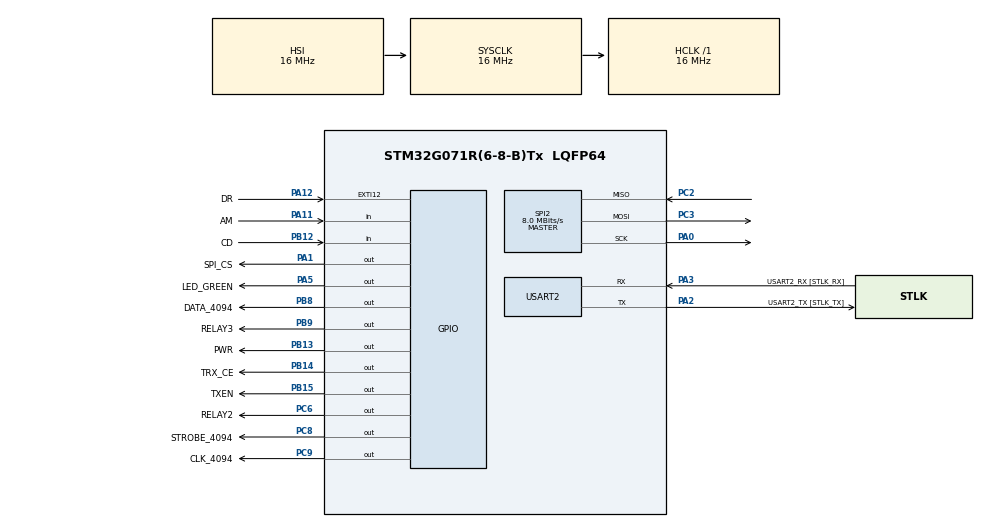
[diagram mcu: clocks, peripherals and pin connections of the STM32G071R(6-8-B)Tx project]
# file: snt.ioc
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Mcu.Family=STM32G0
Mcu.Name=STM32G071R(6-8-B)Tx
Mcu.Package=LQFP64
NVIC.EXTI4_15_IRQn=true\:0\:0\:false\:false\:true\:true\:true\:true
NVIC.SPI2_IRQn=true\:0\:0\:false\:false\:true\:true\:true\:true
NVIC.TIM2_IRQn=true\:0\:0\:false\:false\:true\:true\:true\:true
PA0.GPIO_PuPd=GPIO_NOPULL
PA0.Mode=Full_Duplex_Master
PA0.Signal=SPI2_SCK
PA1.GPIO_Label=SPI_CS
PA1.GPIO_PuPd=GPIO_NOPULL
PA1.Signal=GPIO_Output
PA11\ [PA9].GPIO_Label=AM
PA11\ [PA9].Signal=GPIO_Input
PA12\ [PA10].GPIO_Label=DR
PA12\ [PA10].GPIO_ModeDefaultEXTI=GPIO_MODE_IT_RISING_FALLING
PA12\ [PA10].Signal=GPXTI12
PA13.GPIO_Label=TMS
PA13.Mode=Serial_Wire
PA13.Signal=SYS_SWDIO
PA14-BOOT0.GPIO_Label=TCK
PA14-BOOT0.Mode=Serial_Wire
PA14-BOOT0.Signal=SYS_SWCLK
PA2.GPIO_Label=USART2_TX [STLK_TX]
PA2.GPIO_PuPd=GPIO_PULLUP
PA2.Mode=Asynchronous
PA2.Signal=USART2_TX
PA3.GPIO_Label=USART2_RX [STLK_RX]
PA3.GPIO_PuPd=GPIO_PULLUP
PA3.Mode=Asynchronous
PA3.Signal=USART2_RX
PA5.GPIO_Label=LED_GREEN
PA5.GPIO_Speed=GPIO_SPEED_FREQ_HIGH
PA5.Signal=GPIO_Output
PB12.GPIO_Label=CD
PB12.Signal=GPIO_Input
PB13.GPIO_Label=PWR
PB13.GPIO_PuPd=GPIO_NOPULL
PB13.Signal=GPIO_Output
PB14.GPIO_Label=TRX_CE
PB14.GPIO_PuPd=GPIO_NOPULL
PB14.Signal=GPIO_Output
PB15.GPIO_Label=TXEN
PB15.GPIO_PuPd=GPIO_NOPULL
PB15.Signal=GPIO_Output
PB8.GPIO_Label=DATA_4094
PB8.Signal=GPIO_Output
PB9.GPIO_Label=RELAY3
PB9.Signal=GPIO_Output
PC13.Mode=SYS_WakeUp1
PC13.Signal=SYS_WKUP2
PC14-OSC32_IN\ (PC14).Mode=LSE-External-Oscillator
PC14-OSC32_IN\ (PC14).Signal=RCC_OSC32_IN
PC15-OSC32_OUT\ (PC15).Mode=LSE-External-Oscillator
PC15-OSC32_OUT\ (PC15).Signal=RCC_OSC32_OUT
PC2.GPIO_PuPd=GPIO_NOPULL
PC2.Mode=Full_Duplex_Master
PC2.Signal=SPI2_MISO
PC3.GPIO_PuPd=GPIO_NOPULL
PC3.Mode=Full_Duplex_Master
PC3.Signal=SPI2_MOSI
PC6.GPIO_Label=RELAY2
PC6.Signal=GPIO_Output
PC8.GPIO_Label=STROBE_4094
PC8.Signal=GPIO_Output
PC9.GPIO_Label=CLK_4094
PC9.Signal=GPIO_Output
PF0-OSC_IN\ (PF0).GPIO_Label=MCO
PF0-OSC_IN\ (PF0).Mode=HSE-External-Clock-Source
PF0-OSC_IN\ (PF0).Signal=RCC_OSC_IN
ProjectManager.HeapSize=0x200
ProjectManager.StackSize=0x400
ProjectManager.TargetToolchain=STM32CubeIDE
RCC.AHBFreq_Value=16000000
RCC.CortexFreq_Value=16000000
RCC.EXTERNAL_CLOCK_VALUE=12288000
RCC.HCLKFreq_Value=16000000
RCC.HSE_VALUE=8000000
RCC.HSI_VALUE=16000000
RCC.SYSCLKFreq_VALUE=16000000
RCC.VCOOutputFreq_Value=128000000
SPI2.BaudRatePrescaler=SPI_BAUDRATEPRESCALER_2
SPI2.CalculateBaudRate=8.0 MBits/s
SPI2.DataSize=SPI_DATASIZE_8BIT
SPI2.Direction=SPI_DIRECTION_2LINES
SPI2.Mode=SPI_MODE_MASTER
SPI2.VirtualType=VM_MASTER
TIM2.Period=3600
TIM2.Prescaler=100
TIM3.Prescaler=79
USART2.VirtualMode-Asynchronous=VM_ASYNC
VP_SYS_VS_DBSignals.Mode=DisableDeadBatterySignals
VP_TIM2_VS_ClockSourceINT.Mode=Internal
VP_TIM3_VS_ClockSourceINT.Mode=Internal
board=NUCLEO-G071RB

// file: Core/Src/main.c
/* USER CODE BEGIN Header */
/**
  **************************
  * @file           : main.c
  * @brief          : Main program body
  **************************
  * @attention
  *
  * Copyright (c) 2022 STMicroelectronics.
  * All rights reserved.
  *
  * This software is licensed under terms that can be found in the LICENSE file
  * in the root directory of this software component.
  * If no LICENSE file comes with this software, it is provided AS-IS.
  *
  **************************
  */
/* USER CODE END Header */
#include "main.h"
#include "spi.h"
#include "tim.h"
#include "usart.h"
#include "gpio.h"

/* USER CODE BEGIN Includes */
#include <stdio.h>
#include <stdlib.h>
#include "cd4094.h"

#include "NRF905.h"
/* USER CODE END Includes */

void SystemClock_Config(void);
/* USER CODE BEGIN PFP */
//int _write(int file, char *ptr, int len) {
//	HAL_UART_Transmit(&huart2, (uint8_t*) ptr, len, 50);
//	for (int i = 0; i < len; i++) {
//		ITM_SendChar(*ptr++);
//	}
//	return len;
//}
/* USER CODE END PFP */

/* USER CODE BEGIN 0 */
extern void initialise_monitor_handles(void);
NRF905_hw_t NRF905_hw;
NRF905_t NRF905;

int master;
int ret;

char buffer[64];
uint8_t nrf905_payload_buffer[NRF905_MAX_PAYLOAD + 1];

int message;
int message_length;

//volatile bool rx_flag = false;
//volatile int state = 0;
volatile bool response = false;
int c = 0;
int counter = 0;
int shift_num = 0x00000000;
int temp_num = 0x00000000;
int led = 0;

uint32_t my_address;
uint32_t receiver_address;

#define ADDRESS_MASTER 0xA2B5D154
#define ADDRESS_SLAVE  0xA2B5D154

/* USER CODE END 0 */

int main(void)
{
  /* USER CODE BEGIN 1 */
	initialise_monitor_handles();
  /* USER CODE END 1 */

  /* MCU Configuration--------------------------------------------------------*/

  /* Reset of all peripherals, Initializes the Flash interface and the Systick. */
  HAL_Init();

  /* USER CODE BEGIN Init */
  portInit_shiftreg();

  /* USER CODE END Init */

  /* Configure the system clock */
  SystemClock_Config();

  /* Initialize all configured peripherals */
  MX_GPIO_Init();
  MX_USART2_UART_Init();
  MX_SPI2_Init();
  MX_TIM3_Init();
  MX_TIM2_Init();
  /* USER CODE BEGIN 2 */
  HAL_TIM_Base_Start_IT(&htim2);

  uint32_t uid = 0x00;
  	for (uint8_t i = 0; i < 3; ++i) {
  		uid += (uint32_t) (UID_BASE + i * 4);
  	}
  	srand(uid);

  	NRF905_hw.gpio[NRF905_HW_GPIO_TXEN].pin = TXEN_Pin;
  	NRF905_hw.gpio[NRF905_HW_GPIO_TXEN].port = TXEN_GPIO_Port;
  	NRF905_hw.gpio[NRF905_HW_GPIO_TRX_EN].pin = TRX_CE_Pin;
  	NRF905_hw.gpio[NRF905_HW_GPIO_TRX_EN].port = TRX_CE_GPIO_Port;
  	NRF905_hw.gpio[NRF905_HW_GPIO_PWR].pin = PWR_Pin;
  	NRF905_hw.gpio[NRF905_HW_GPIO_PWR].port = PWR_GPIO_Port;

  	NRF905_hw.gpio[NRF905_HW_GPIO_CD].pin = CD_Pin;
  	NRF905_hw.gpio[NRF905_HW_GPIO_CD].port = CD_GPIO_Port;
  	NRF905_hw.gpio[NRF905_HW_GPIO_AM].pin = AM_Pin;
  	NRF905_hw.gpio[NRF905_HW_GPIO_AM].port = AM_GPIO_Port;
  	NRF905_hw.gpio[NRF905_HW_GPIO_DR].pin = DR_Pin;
  	NRF905_hw.gpio[NRF905_HW_GPIO_DR].port = DR_GPIO_Port;

  	NRF905_hw.gpio[NRF905_HW_GPIO_CS].pin = SPI_CS_Pin;
  	NRF905_hw.gpio[NRF905_HW_GPIO_CS].port = SPI_CS_GPIO_Port;

  	NRF905_hw.tim = &htim3;
  	NRF905_hw.spi = &hspi2;

  	master = 0; //HAL_GPIO_ReadPin(MODE_GPIO_Port, MODE_Pin);
  	if (master == 1) {
  		my_address = ADDRESS_MASTER;
  		receiver_address = ADDRESS_SLAVE;
  	} else {
  		my_address = ADDRESS_SLAVE;
  		receiver_address = ADDRESS_MASTER;
  	}

  	if (master == 1) {
  		printf("Mode: Master, TX, %08lX\r\n", my_address);
//  		HAL_GPIO_WritePin(LED_GREEN_GPIO_Port, LED_GREEN_Pin, GPIO_PIN_RESET);
  	} else {
  		printf("Mode: Slave, RX, %08lX\r\n", my_address);
//  		HAL_GPIO_WritePin(LED_GREEN_GPIO_Port, LED_GREEN_Pin, GPIO_PIN_SET);
  	}

  	NRF905_init(&NRF905, &NRF905_hw);
  	NRF905_set_listen_address(&NRF905, receiver_address);

  	printf("Reg conf: ");
  	for (int i = 0; i < 10; ++i) {
  		uint8_t d = NRF905_read_config_register(&NRF905, i);
  		printf("%02X, ", d);
  	}
  	printf("\r\n");
  /* USER CODE END 2 */

  /* Infinite loop */
  /* USER CODE BEGIN WHILE */
	while (1) {

//		if(!HAL_GPIO_ReadPin(BUTTON_GPIO_Port, BUTTON_Pin)){
//
//		uint8_t len = sprintf(nrf905_payload_buffer, "Hello SNT, from %08lX!", c,
//				my_address);
//		printf("Sending (%d): %s\r\n", len, nrf905_payload_buffer);
//		int ret = NRF905_tx(&NRF905, my_address, nrf905_payload_buffer, 32,
//				NRF905_NEXTMODE_STANDBY);
//		printf("ret = %d\r\n", ret);
//		++c;
//		}

//		printf("Switching to RX (%08lX)\r\n", my_address);
		NRF905_rx(&NRF905);
//		uint32_t wait = rand() % 21 + 20;
//		printf("Waiting for max %ld ms\r\n", wait * 100);
//		for (int i = 0; i < 500; ++i) {
//			uint8_t state_DR = NRF905_data_ready(&NRF905);
//			uint8_t state_AM = NRF905_address_matched(&NRF905);

//			if (state_DR && state_AM) {
//				printf("Non int");
//			}
//				NRF905_read_it(&NRF905, (uint8_t*)nrf905_payload_buffer, NRF905_MAX_PAYLOAD+1);
//				nrf905_payload_buffer[NRF905_MAX_PAYLOAD] = 0x00;
//				++c;
//				printf("C: %d\r\n",c);
//				printf("Received0: %d\r\n", nrf905_payload_buffer[0]);
//				printf("Received1: %d\r\n", nrf905_payload_buffer[1]);
//				printf("Received2: %d\r\n", nrf905_payload_buffer[2]);
//				printf("Received3: %d\r\n", nrf905_payload_buffer[3]);
//			if(nrf905_payload_buffer[2]==0xD3){
//				printf("C: %d\r\n",c++);
//				writeToShiftRegister(0x00000000 + RELAY07);
//				HAL_GPIO_WritePin(LED_GREEN_GPIO_Port, LED_GREEN_Pin, GPIO_PIN_SET);
//
////				}
//
//
////				printf("Switching to TX (%08lX)\r\n", my_address);
////				HAL_GPIO_WritePin(LED_GREEN_GPIO_Port, LED_GREEN_Pin, GPIO_PIN_SET);
////				response_ok = 1;
//				break;
//			}

//		}
//		HAL_Delay(60);

		if (counter >= 10) {
//			HAL_GPIO_WritePin(LED_GREEN_GPIO_Port, LED_GREEN_Pin, GPIO_PIN_RESET);
			shift_num = 0x00000000;
			led = 0;
			counter = 0;
//			printf("No response\r\n");
		}

		if(shift_num != temp_num){
//
			triggerRelays(shift_num);
			HAL_GPIO_WritePin(LED_GREEN_GPIO_Port, LED_GREEN_Pin, led);
			temp_num = shift_num;
		}

		//HAL_Delay(25);
//		uint8_t data[NRF905_MAX_PAYLOAD] = {0x00};
//		data[0] = 0x00;
//		data[1] = 0xAA;
//		data[2] = 0x00;
//		data[3] = 0x55;
//		data[4] = 0x00;
//
//		while(!NRF905_tx(&NRF905, receiver_address, (uint8_t*)data, NRF905_MAX_PAYLOAD, NRF905_NEXTMODE_STANDBY)){
//			c++;
//			}
//		printf("sent %d \n", c);
//		HAL_Delay(1000);
    /* USER CODE END WHILE */

  }
}

void SystemClock_Config(void)
{
  RCC_OscInitTypeDef RCC_OscInitStruct = {0};
  RCC_ClkInitTypeDef RCC_ClkInitStruct = {0};

  /** Configure the main internal regulator output voltage
  */
  HAL_PWREx_ControlVoltageScaling(PWR_REGULATOR_VOLTAGE_SCALE1);

  /** Initializes the RCC Oscillators according to the specified parameters
  * in the RCC_OscInitTypeDef structure.
  */
  RCC_OscInitStruct.OscillatorType = RCC_OSCILLATORTYPE_HSI;
  RCC_OscInitStruct.HSIState = RCC_HSI_ON;
  RCC_OscInitStruct.HSIDiv = RCC_HSI_DIV1;
  RCC_OscInitStruct.HSICalibrationValue = RCC_HSICALIBRATION_DEFAULT;
  RCC_OscInitStruct.PLL.PLLState = RCC_PLL_NONE;
  if (HAL_RCC_OscConfig(&RCC_OscInitStruct) != HAL_OK)
  {
    Error_Handler();
  }

  /** Initializes the CPU, AHB and APB buses clocks
  */
  RCC_ClkInitStruct.ClockType = RCC_CLOCKTYPE_HCLK|RCC_CLOCKTYPE_SYSCLK
                              |RCC_CLOCKTYPE_PCLK1;
  RCC_ClkInitStruct.SYSCLKSource = RCC_SYSCLKSOURCE_HSI;
  RCC_ClkInitStruct.AHBCLKDivider = RCC_SYSCLK_DIV1;
  RCC_ClkInitStruct.APB1CLKDivider = RCC_HCLK_DIV1;

  if (HAL_RCC_ClockConfig(&RCC_ClkInitStruct, FLASH_LATENCY_0) != HAL_OK)
  {
    Error_Handler();
  }
}

/* USER CODE BEGIN 4 */
int call = 0;
void HAL_SPI_RxCpltCallback(SPI_HandleTypeDef *hspi){

//	printf("%d\n", call++);
	NRF905_spi_deselect(&NRF905);
//rx_flag = true;

}

void HAL_GPIO_EXTI_Rising_Callback(uint16_t GPIO_Pin)
{

	if (GPIO_Pin == GPIO_PIN_12){

		NRF905_read_it(&NRF905, (uint8_t*)nrf905_payload_buffer, NRF905_MAX_PAYLOAD+1);
		nrf905_payload_buffer[NRF905_MAX_PAYLOAD] = 0x00;

//		printf("Int");

		if((nrf905_payload_buffer[1]==0xD3) && (nrf905_payload_buffer[5]==0x16) &&
				(nrf905_payload_buffer[9]==0x69)){
//			printf("C: %d\r\n",c++);

			uint32_t no1 = ((uint32_t)nrf905_payload_buffer[4] << 16) | ((uint32_t)nrf905_payload_buffer[3] << 8)
					| ((uint32_t)nrf905_payload_buffer[2]);
			uint32_t no2 = ((uint32_t)nrf905_payload_buffer[8] << 16) | ((uint32_t)nrf905_payload_buffer[7] << 8)
					| ((uint32_t)nrf905_payload_buffer[6]);

			if(no1 == no2){
				shift_num = no1;
			}
//			shift_num = 0x00000000 + RELAY09;
			led = 1;
//			HAL_GPIO_WritePin(LED_GREEN_GPIO_Port, LED_GREEN_Pin, GPIO_PIN_SET);
			counter = 0;
		}
	}

}

void HAL_TIM_PeriodElapsedCallback(TIM_HandleTypeDef* htim){

	counter++;

}
/* USER CODE END 4 */

void Error_Handler(void)
{
  __disable_irq();
  while (1)
  {
  }
}
